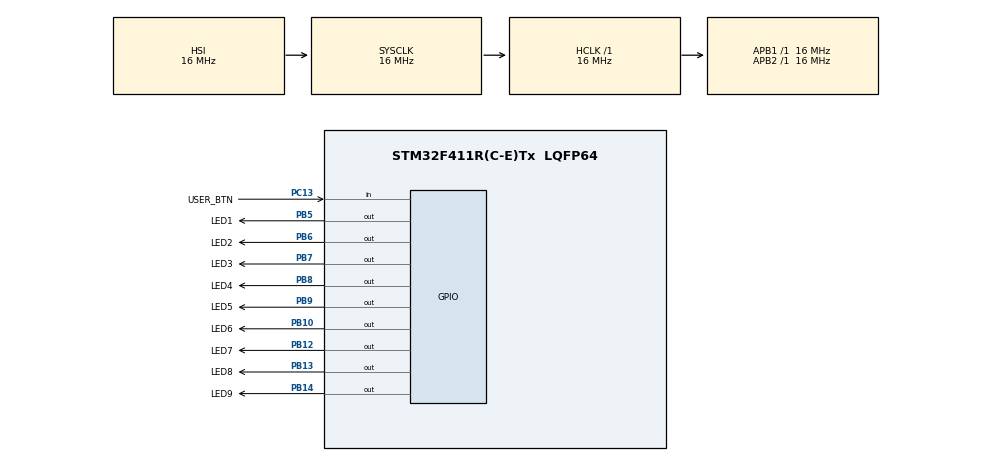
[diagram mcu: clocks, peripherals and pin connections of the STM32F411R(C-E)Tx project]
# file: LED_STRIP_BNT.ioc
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Mcu.Family=STM32F4
Mcu.Name=STM32F411R(C-E)Tx
Mcu.Package=LQFP64
NVIC.PriorityGroup=NVIC_PRIORITYGROUP_4
PB10.GPIO_Label=LED6
PB10.Signal=GPIO_Output
PB12.GPIO_Label=LED7
PB12.Signal=GPIO_Output
PB13.GPIO_Label=LED8
PB13.Signal=GPIO_Output
PB14.GPIO_Label=LED9
PB14.Signal=GPIO_Output
PB5.GPIO_Label=LED1
PB5.Signal=GPIO_Output
PB6.GPIO_Label=LED2
PB6.Signal=GPIO_Output
PB7.GPIO_Label=LED3
PB7.Signal=GPIO_Output
PB8.GPIO_Label=LED4
PB8.Signal=GPIO_Output
PB9.GPIO_Label=LED5
PB9.Signal=GPIO_Output
PC13-ANTI_TAMP.GPIO_Label=USER_BTN
PC13-ANTI_TAMP.Signal=GPIO_Input
ProjectManager.HeapSize=0x200
ProjectManager.StackSize=0x400
ProjectManager.TargetToolchain=STM32CubeIDE
RCC.AHBFreq_Value=16000000
RCC.APB1Freq_Value=16000000
RCC.APB2Freq_Value=16000000
RCC.CortexFreq_Value=16000000
RCC.HSE_VALUE=25000000
RCC.HSI_VALUE=16000000
RCC.LSE_VALUE=32768
RCC.SYSCLKFreq_VALUE=16000000
RCC.VCOOutputFreq_Value=192000000
board=custom

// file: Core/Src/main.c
/* USER CODE BEGIN Header */
/**
  ******************************************************************************
  * @file           : main.c
  * @brief          : Main program body
  ******************************************************************************
  * @attention
  *
  * Copyright (c) 2024 STMicroelectronics.
  * All rights reserved.
  *
  * This software is licensed under terms that can be found in the LICENSE file
  * in the root directory of this software component.
  * If no LICENSE file comes with this software, it is provided AS-IS.
  *
  ******************************************************************************
  */
/* USER CODE END Header */
#include "main.h"

/* USER CODE BEGIN Includes */
#include <stdbool.h>
/* USER CODE END Includes */

void SystemClock_Config(void);
static void MX_GPIO_Init(void);

/* USER CODE BEGIN 0 */
void led_set(int led, bool turn_on){
	GPIO_PinState state;

	if(turn_on){
		state = GPIO_PIN_SET;
	} else {
		state = GPIO_PIN_RESET;
	}

	if (led >= 0 && led < 10){
		HAL_GPIO_WritePin(LED1_GPIO_Port, LED1_Pin << led, state);
	}
}

bool is_Button_pressed(void){
	if (HAL_GPIO_ReadPin(USER_BTN_GPIO_Port, USER_BTN_Pin) == GPIO_PIN_RESET) {
		return true;
	} else {
		return false;
	}
}
/* USER CODE END 0 */

int main(void)
{

  /* MCU Configuration--------------------------------------------------------*/

  /* Reset of all peripherals, Initializes the Flash interface and the Systick. */
  HAL_Init();

  /* Configure the system clock */
  SystemClock_Config();

  /* Initialize all configured peripherals */
  MX_GPIO_Init();
  /* USER CODE BEGIN 2 */
  uint16_t led = 0;
  led_set(0, true);
  /* USER CODE END 2 */

  /* Infinite loop */
  /* USER CODE BEGIN WHILE */
  while (1)
  {
	  if (is_Button_pressed()) {
		  // Po wcisnieciu - wylacz diode
		  led_set(led, false);

		  // Zwieksz zmienna led
		  led++;

		  if (led >= 10) {
			led = 0;
		  }

		  // Wlacz kolejna diode
		  led_set(led, true);

		  // czekamy na zwolnienie przycisku
		  while(is_Button_pressed()){
		  }
	  }
    /* USER CODE END WHILE */

  }
}

void SystemClock_Config(void)
{
  RCC_OscInitTypeDef RCC_OscInitStruct = {0};
  RCC_ClkInitTypeDef RCC_ClkInitStruct = {0};

  /** Configure the main internal regulator output voltage
  */
  __HAL_RCC_PWR_CLK_ENABLE();
  __HAL_PWR_VOLTAGESCALING_CONFIG(PWR_REGULATOR_VOLTAGE_SCALE1);

  /** Initializes the RCC Oscillators according to the specified parameters
  * in the RCC_OscInitTypeDef structure.
  */
  RCC_OscInitStruct.OscillatorType = RCC_OSCILLATORTYPE_HSI;
  RCC_OscInitStruct.HSIState = RCC_HSI_ON;
  RCC_OscInitStruct.HSICalibrationValue = RCC_HSICALIBRATION_DEFAULT;
  RCC_OscInitStruct.PLL.PLLState = RCC_PLL_NONE;
  if (HAL_RCC_OscConfig(&RCC_OscInitStruct) != HAL_OK)
  {
    Error_Handler();
  }

  /** Initializes the CPU, AHB and APB buses clocks
  */
  RCC_ClkInitStruct.ClockType = RCC_CLOCKTYPE_HCLK|RCC_CLOCKTYPE_SYSCLK
                              |RCC_CLOCKTYPE_PCLK1|RCC_CLOCKTYPE_PCLK2;
  RCC_ClkInitStruct.SYSCLKSource = RCC_SYSCLKSOURCE_HSI;
  RCC_ClkInitStruct.AHBCLKDivider = RCC_SYSCLK_DIV1;
  RCC_ClkInitStruct.APB1CLKDivider = RCC_HCLK_DIV1;
  RCC_ClkInitStruct.APB2CLKDivider = RCC_HCLK_DIV1;

  if (HAL_RCC_ClockConfig(&RCC_ClkInitStruct, FLASH_LATENCY_0) != HAL_OK)
  {
    Error_Handler();
  }
}

static void MX_GPIO_Init(void)
{
  GPIO_InitTypeDef GPIO_InitStruct = {0};

  /* GPIO Ports Clock Enable */
  __HAL_RCC_GPIOC_CLK_ENABLE();
  __HAL_RCC_GPIOB_CLK_ENABLE();

  /*Configure GPIO pin Output Level */
  HAL_GPIO_WritePin(GPIOB, LED6_Pin|LED7_Pin|LED8_Pin|LED9_Pin
                          |LED1_Pin|LED2_Pin|LED3_Pin|LED4_Pin
                          |LED5_Pin, GPIO_PIN_RESET);

  /*Configure GPIO pin : USER_BTN_Pin */
  GPIO_InitStruct.Pin = USER_BTN_Pin;
  GPIO_InitStruct.Mode = GPIO_MODE_INPUT;
  GPIO_InitStruct.Pull = GPIO_NOPULL;
  HAL_GPIO_Init(USER_BTN_GPIO_Port, &GPIO_InitStruct);

  /*Configure GPIO pins : LED6_Pin LED7_Pin LED8_Pin LED9_Pin
                           LED1_Pin LED2_Pin LED3_Pin LED4_Pin
                           LED5_Pin */
  GPIO_InitStruct.Pin = LED6_Pin|LED7_Pin|LED8_Pin|LED9_Pin
                          |LED1_Pin|LED2_Pin|LED3_Pin|LED4_Pin
                          |LED5_Pin;
  GPIO_InitStruct.Mode = GPIO_MODE_OUTPUT_PP;
  GPIO_InitStruct.Pull = GPIO_NOPULL;
  GPIO_InitStruct.Speed = GPIO_SPEED_FREQ_LOW;
  HAL_GPIO_Init(GPIOB, &GPIO_InitStruct);

}

void Error_Handler(void)
{
  __disable_irq();
  while (1)
  {
  }
}
